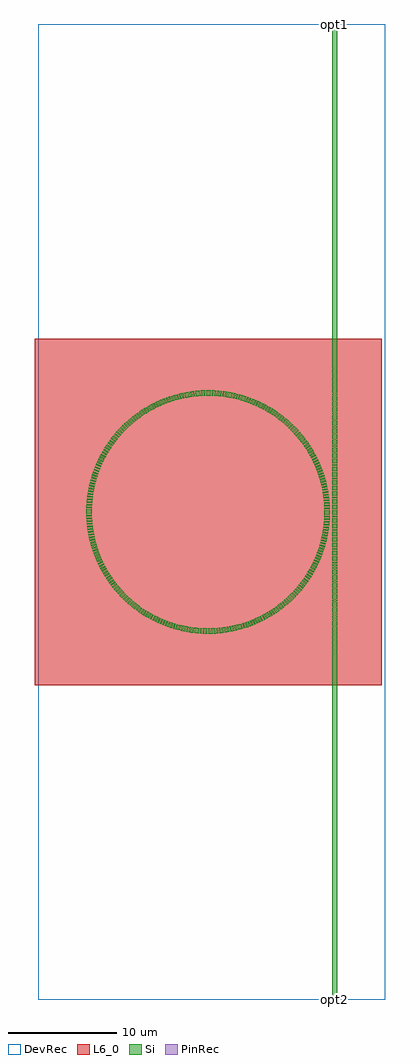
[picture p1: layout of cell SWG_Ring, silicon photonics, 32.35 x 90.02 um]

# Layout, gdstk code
import gdstk
lib = gdstk.Library(unit=1e-6, precision=1e-09)
def R(c, l, rs):  # rectangles x0, y0, x1, y1
    for r in rs: c.add(gdstk.rectangle(r[:2], r[2:], *l))
def A(c, l, x, y, w, h, nx, ny, dx, dy):  # array of equal rectangles
    R(c, l, [(x+i*dx, y+j*dy, x+i*dx+w, y+j*dy+h) for i in range(nx) for j in range(ny)])
def P(c, l, *ps):  # polygons
    for p in ps: c.add(gdstk.Polygon(p, *l))
Si = (1, 0)
PinRec = (1, 10)
L6_0 = (6, 0)
DevRec = (68, 0)

swg_ring = lib.new_cell('SWG_Ring')
A(swg_ring, Si, 11.432, -14.75, 0.5, 0.175, 1, 60, 0, 0.25)
A(swg_ring, Si, 11.432, 0, 0.5, 0.175, 1, 60, 0, 0.25)
R(swg_ring, Si, [(11.432,-45,11.932,-14.75), (11.432,0,11.932,0.175), (11.432,14.925,11.932,45)])
P(swg_ring, Si, [(0.489,10.721),(0.319,10.727),(0.333,11.227),(0.512,11.22)],
  [(-11.23,-0.177),(-11.232,0.002),(-10.732,0.002),(-10.73,-0.169)],
  [(0.252,-11.229),(0.241,-10.729),(0.412,-10.724),(0.431,-11.223)],
  [(6.189,8.767),(6.049,8.865),(6.331,9.278),(6.478,9.176)],
  [(5.988,8.906),(5.845,9),(6.118,9.419),(6.267,9.321)],
  [(5.577,9.169),(5.43,9.257),(5.683,9.688),(5.836,9.596)],
  [(5.366,9.294),(5.218,9.378),(5.461,9.815),(5.616,9.727)],
  [(5.154,9.413),(5.003,9.494),(5.236,9.937),(5.394,9.852)],
  [(4.938,9.528),(4.785,9.606),(5.008,10.053),(5.168,9.972)],
  [(4.72,9.638),(4.566,9.712),(4.778,10.165),(4.94,10.087)],
  [(4.499,9.743),(4.343,9.813),(4.546,10.271),(4.709,10.197)],
  [(4.276,9.843),(4.119,9.91),(4.311,10.372),(4.475,10.302)],
  [(4.051,9.938),(3.892,10.001),(4.074,10.467),(4.24,10.401)],
  [(3.824,10.027),(3.664,10.087),(3.834,10.557),(4.002,10.495)],
  [(3.595,10.112),(3.433,10.168),(3.593,10.641),(3.762,10.583)],
  [(3.364,10.191),(3.201,10.243),(3.35,10.721),(3.52,10.666)],
  [(3.131,10.265),(2.967,10.313),(3.105,10.794),(3.277,10.743)],
  [(2.896,10.333),(2.731,10.378),(2.858,10.862),(3.031,10.815)],
  [(2.66,10.397),(2.494,10.438),(2.61,10.924),(2.784,10.881)],
  [(2.423,10.455),(2.256,10.492),(2.361,10.981),(2.536,10.942)],
  [(2.184,10.507),(2.017,10.541),(2.111,11.032),(2.286,10.997)],
  [(1.945,10.554),(1.776,10.584),(1.859,11.077),(2.035,11.046)],
  [(1.704,10.596),(1.535,10.621),(1.606,11.116),(1.783,11.089)],
  [(1.462,10.632),(1.293,10.654),(1.353,11.15),(1.53,11.127)],
  [(1.22,10.662),(1.05,10.68),(1.099,11.178),(1.277,11.159)],
  [(0.977,10.687),(0.806,10.701),(0.844,11.2),(1.022,11.185)],
  [(0.733,10.707),(0.563,10.717),(0.589,11.216),(0.768,11.205)],
  [(5.784,9.04),(5.639,9.131),(5.902,9.556),(6.053,9.461)],
  [(9.04,5.783),(8.947,5.926),(9.364,6.202),(9.461,6.052)],
  [(8.906,5.987),(8.81,6.128),(9.22,6.414),(9.321,6.266)],
  [(8.768,6.188),(8.668,6.327),(9.072,6.622),(9.176,6.477)],
  [(11.652,4.925),(11.432,14.925),(11.932,14.925),(11.712,4.925)],
  [(7.502,7.674),(7.379,7.793),(7.723,8.156),(7.852,8.031)],
  [(7.325,7.843),(7.199,7.958),(7.535,8.329),(7.667,8.208)],
  [(7.145,8.007),(7.016,8.12),(7.343,8.499),(7.478,8.381)],
  [(6.961,8.168),(6.83,8.278),(7.148,8.664),(7.285,8.549)],
  [(6.773,8.324),(6.64,8.431),(6.949,8.824),(7.089,8.712)],
  [(6.582,8.476),(6.446,8.58),(6.746,8.98),(6.889,8.871)],
  [(6.387,8.624),(6.249,8.725),(6.54,9.131),(6.685,9.026)],
  [(8.477,6.581),(8.371,6.715),(8.761,7.028),(8.872,6.888)],
  [(8.325,6.772),(8.216,6.904),(8.599,7.226),(8.713,7.088)],
  [(8.169,6.96),(8.057,7.089),(8.432,7.42),(8.549,7.284)],
  [(8.008,7.144),(7.893,7.271),(8.261,7.61),(8.381,7.477)],
  [(7.843,7.325),(7.726,7.449),(8.086,7.796),(8.209,7.666)],
  [(7.675,7.501),(7.554,7.623),(7.906,7.978),(8.032,7.851)],
  [(8.625,6.386),(8.522,6.523),(8.919,6.827),(9.026,6.684)],
  [(9.294,5.366),(9.207,5.513),(9.636,5.77),(9.727,5.616)],
  [(9.17,5.576),(9.08,5.721),(9.503,5.988),(9.597,5.835)],
  [(10.707,0.732),(10.694,0.903),(11.192,0.945),(11.206,0.766)],
  [(10.687,0.976),(10.67,1.146),(11.167,1.199),(11.185,1.021)],
  [(10.662,1.219),(10.641,1.389),(11.137,1.453),(11.159,1.276)],
  [(10.732,0),(10.73,0.171),(11.23,0.179),(11.232,0)],
  [(10.729,0.244),(10.724,0.415),(11.223,0.435),(11.229,0.256)],
  [(10.721,0.488),(10.711,0.659),(11.21,0.69),(11.22,0.511)],
  [(10.632,1.461),(10.607,1.63),(11.101,1.706),(11.127,1.529)],
  [(10.596,1.703),(10.567,1.871),(11.06,1.959),(11.089,1.782)],
  [(10.554,1.944),(10.522,2.111),(11.012,2.21),(11.046,2.034)],
  [(10.507,2.183),(10.471,2.35),(10.959,2.46),(10.997,2.285)],
  [(10.455,2.422),(10.415,2.588),(10.9,2.709),(10.942,2.535)],
  [(10.397,2.659),(10.353,2.825),(10.836,2.956),(10.881,2.783)],
  [(10.334,2.895),(10.286,3.059),(10.766,3.202),(10.815,3.03)],
  [(10.265,3.13),(10.214,3.293),(10.69,3.446),(10.743,3.275)],
  [(10.191,3.363),(10.136,3.524),(10.609,3.689),(10.666,3.519)],
  [(10.112,3.594),(10.054,3.754),(10.522,3.929),(10.583,3.761)],
  [(10.028,3.823),(9.966,3.982),(10.43,4.168),(10.495,4.001)],
  [(9.938,4.05),(9.872,4.208),(10.332,4.404),(10.401,4.239)],
  [(9.843,4.275),(9.774,4.432),(10.229,4.638),(10.302,4.474)],
  [(9.743,4.498),(9.671,4.653),(10.121,4.87),(10.197,4.708)],
  [(9.639,4.719),(9.562,4.872),(10.008,5.099),(10.088,4.939)],
  [(9.529,4.937),(9.449,5.088),(9.889,5.325),(9.973,5.167)],
  [(9.414,5.153),(9.331,5.302),(9.765,5.549),(9.852,5.393)],
  [(-10.701,0.808),(-11.2,0.845),(-11.185,1.024),(-10.687,0.978)],
  [(-10.717,0.564),(-11.216,0.59),(-11.205,0.769),(-10.707,0.734)],
  [(-10.727,0.32),(-11.227,0.335),(-11.22,0.513),(-10.72,0.491)],
  [(-10.731,0.075),(-11.231,0.079),(-11.229,0.258),(-10.729,0.246)],
  [(0.245,10.729),(0.074,10.731),(0.078,11.231),(0.257,11.229)],
  [(-0.17,10.73),(-0.178,11.23),(0.001,11.232),(0.001,10.732)],
  [(-0.414,10.724),(-0.433,11.223),(-0.255,11.229),(-0.243,10.729)],
  [(-0.658,10.711),(-0.689,11.211),(-0.51,11.22),(-0.487,10.721)],
  [(-0.902,10.694),(-0.944,11.192),(-0.765,11.206),(-0.731,10.707)],
  [(-1.145,10.67),(-1.198,11.168),(-1.02,11.185),(-0.975,10.687)],
  [(-1.387,10.642),(-1.452,11.137),(-1.274,11.159),(-1.218,10.662)],
  [(-1.629,10.607),(-1.705,11.101),(-1.528,11.127),(-1.46,10.632)],
  [(-1.87,10.567),(-1.958,11.06),(-1.781,11.09),(-1.702,10.596)],
  [(-2.11,10.522),(-2.209,11.012),(-2.033,11.046),(-1.943,10.554)],
  [(-2.349,10.471),(-2.459,10.959),(-2.284,10.997),(-2.182,10.507)],
  [(-2.587,10.415),(-2.708,10.9),(-2.534,10.942),(-2.421,10.455)],
  [(-2.824,10.354),(-2.955,10.836),(-2.782,10.882),(-2.658,10.397)],
  [(-3.058,10.287),(-3.201,10.766),(-3.029,10.816),(-2.894,10.334)],
  [(-3.292,10.214),(-3.445,10.69),(-3.274,10.744),(-3.129,10.266)],
  [(-3.523,10.137),(-3.688,10.609),(-3.518,10.666),(-3.361,10.192)],
  [(-3.753,10.054),(-3.928,10.522),(-3.76,10.584),(-3.593,10.112)],
  [(-3.981,9.966),(-4.167,10.43),(-4,10.495),(-3.822,10.028)],
  [(-4.207,9.873),(-4.403,10.333),(-4.238,10.402),(-4.049,9.939)],
  [(-4.431,9.774),(-4.637,10.23),(-4.473,10.302),(-4.274,9.844)],
  [(-4.652,9.671),(-4.869,10.122),(-4.707,10.198),(-4.497,9.744)],
  [(-4.871,9.563),(-5.098,10.008),(-4.938,10.088),(-4.718,9.639)],
  [(-5.087,9.449),(-5.324,9.89),(-5.166,9.973),(-4.936,9.529)],
  [(-5.301,9.331),(-5.548,9.766),(-5.392,9.853),(-5.152,9.414)],
  [(-5.512,9.208),(-5.769,9.637),(-5.615,9.728),(-5.365,9.295)],
  [(-5.72,9.08),(-5.987,9.503),(-5.835,9.597),(-5.575,9.17)],
  [(-5.925,8.948),(-6.201,9.364),(-6.051,9.462),(-5.782,9.041)],
  [(-6.128,8.81),(-6.413,9.221),(-6.265,9.322),(-5.986,8.907)],
  [(-6.326,8.669),(-6.621,9.073),(-6.476,9.177),(-6.188,8.768)],
  [(-6.522,8.522),(-6.826,8.919),(-6.683,9.027),(-6.386,8.625)],
  [(-6.714,8.372),(-7.027,8.762),(-6.887,8.873),(-6.58,8.478)],
  [(-6.903,8.217),(-7.225,8.6),(-7.087,8.714),(-6.771,8.326)],
  [(-7.088,8.057),(-7.419,8.433),(-7.283,8.55),(-6.959,8.169)],
  [(-7.27,7.894),(-7.609,8.262),(-7.476,8.382),(-7.143,8.009)],
  [(-7.448,7.727),(-7.795,8.086),(-7.665,8.21),(-7.324,7.844)],
  [(-7.622,7.555),(-7.977,7.907),(-7.85,8.033),(-7.5,7.675)],
  [(-7.792,7.38),(-8.155,7.723),(-8.031,7.852),(-7.673,7.503)],
  [(-7.958,7.2),(-8.328,7.536),(-8.207,7.667),(-7.842,7.326)],
  [(-8.12,7.017),(-8.498,7.344),(-8.38,7.479),(-8.007,7.146)],
  [(-8.277,6.831),(-8.663,7.149),(-8.548,7.286),(-8.167,6.962)],
  [(-8.431,6.64),(-8.823,6.95),(-8.711,7.09),(-8.324,6.774)],
  [(-8.579,6.447),(-8.979,6.747),(-8.871,6.889),(-8.476,6.583)],
  [(-8.724,6.25),(-9.13,6.541),(-9.025,6.686),(-8.623,6.388)],
  [(-8.864,6.05),(-9.277,6.332),(-9.175,6.479),(-8.766,6.19)],
  [(-8.999,5.846),(-9.419,6.119),(-9.32,6.268),(-8.905,5.989)],
  [(-9.13,5.64),(-9.556,5.903),(-9.46,6.054),(-9.039,5.785)],
  [(-9.256,5.431),(-9.687,5.684),(-9.596,5.837),(-9.168,5.578)],
  [(-9.377,5.219),(-9.814,5.462),(-9.726,5.617),(-9.293,5.367)],
  [(-9.494,5.004),(-9.936,5.237),(-9.851,5.395),(-9.413,5.154)],
  [(-9.605,4.786),(-10.053,5.009),(-9.972,5.169),(-9.528,4.939)],
  [(-9.712,4.567),(-10.164,4.779),(-10.087,4.941),(-9.638,4.721)],
  [(-9.813,4.344),(-10.27,4.547),(-10.196,4.71),(-9.743,4.5)],
  [(-9.909,4.12),(-10.371,4.312),(-10.301,4.477),(-9.842,4.277)],
  [(-10.001,3.893),(-10.467,4.075),(-10.4,4.241),(-9.937,4.052)],
  [(-10.087,3.665),(-10.557,3.835),(-10.494,4.003),(-10.027,3.825)],
  [(-10.167,3.434),(-10.641,3.594),(-10.583,3.763),(-10.111,3.596)],
  [(-10.243,3.202),(-10.72,3.351),(-10.665,3.521),(-10.191,3.365)],
  [(-10.313,2.968),(-10.794,3.106),(-10.743,3.278),(-10.265,3.132)],
  [(-10.378,2.732),(-10.862,2.86),(-10.815,3.032),(-10.333,2.897)],
  [(-10.438,2.495),(-10.924,2.612),(-10.881,2.785),(-10.396,2.661)],
  [(-10.492,2.257),(-10.98,2.362),(-10.941,2.537),(-10.454,2.424)],
  [(-10.54,2.018),(-11.031,2.112),(-10.996,2.287),(-10.507,2.185)],
  [(-10.584,1.777),(-11.077,1.86),(-11.046,2.036),(-10.554,1.946)],
  [(-10.621,1.536),(-11.116,1.607),(-11.089,1.784),(-10.595,1.705)],
  [(-10.653,1.294),(-11.15,1.354),(-11.127,1.532),(-10.631,1.463)],
  [(-10.68,1.051),(-11.178,1.1),(-11.159,1.278),(-10.662,1.221)],
  [(-0.591,-11.216),(-0.77,-11.205),(-0.736,-10.706),(-0.565,-10.717)],
  [(-0.336,-11.227),(-0.515,-11.22),(-0.492,-10.72),(-0.321,-10.727)],
  [(-0.08,-11.231),(-0.259,-11.229),(-0.248,-10.729),(-0.077,-10.731)],
  [(-0.003,-11.232),(-0.003,-10.732),(0.168,-10.73),(0.176,-11.23)],
  [(-11.223,-0.432),(-11.229,-0.253),(-10.729,-0.242),(-10.724,-0.413)],
  [(-11.211,-0.688),(-11.22,-0.509),(-10.721,-0.486),(-10.712,-0.657)],
  [(-11.192,-0.943),(-11.206,-0.764),(-10.707,-0.73),(-10.694,-0.901)],
  [(-11.168,-1.197),(-11.185,-1.019),(-10.687,-0.974),(-10.671,-1.144)],
  [(-11.138,-1.451),(-11.159,-1.273),(-10.662,-1.217),(-10.642,-1.386)],
  [(-11.102,-1.704),(-11.127,-1.527),(-10.632,-1.459),(-10.607,-1.628)],
  [(-11.06,-1.956),(-11.09,-1.78),(-10.596,-1.701),(-10.568,-1.869)],
  [(-11.013,-2.208),(-11.046,-2.032),(-10.555,-1.941),(-10.522,-2.109)],
  [(-10.959,-2.458),(-10.997,-2.283),(-10.508,-2.181),(-10.472,-2.348)],
  [(-10.901,-2.707),(-10.942,-2.533),(-10.455,-2.42),(-10.415,-2.586)],
  [(-10.836,-2.954),(-10.882,-2.781),(-10.398,-2.657),(-10.354,-2.822)],
  [(-10.766,-3.2),(-10.816,-3.028),(-10.334,-2.893),(-10.287,-3.057)],
  [(-10.691,-3.444),(-10.744,-3.273),(-10.266,-3.128),(-10.215,-3.291)],
  [(-10.609,-3.687),(-10.667,-3.517),(-10.192,-3.36),(-10.137,-3.522)],
  [(-10.523,-3.927),(-10.584,-3.759),(-10.113,-3.592),(-10.054,-3.752)],
  [(-10.431,-4.166),(-10.496,-3.999),(-10.028,-3.821),(-9.966,-3.98)],
  [(-10.333,-4.402),(-10.402,-4.237),(-9.939,-4.048),(-9.873,-4.206)],
  [(-10.23,-4.636),(-10.303,-4.472),(-9.844,-4.273),(-9.775,-4.43)],
  [(-10.122,-4.868),(-10.198,-4.706),(-9.744,-4.496),(-9.672,-4.651)],
  [(-10.009,-5.097),(-10.089,-4.937),(-9.64,-4.717),(-9.563,-4.87)],
  [(-9.89,-5.323),(-9.974,-5.165),(-9.53,-4.935),(-9.45,-5.086)],
  [(-9.766,-5.547),(-9.853,-5.391),(-9.415,-5.151),(-9.332,-5.3)],
  [(-9.638,-5.768),(-9.728,-5.614),(-9.295,-5.364),(-9.209,-5.511)],
  [(-9.504,-5.986),(-9.598,-5.834),(-9.171,-5.574),(-9.081,-5.719)],
  [(-9.365,-6.201),(-9.463,-6.05),(-9.041,-5.781),(-8.948,-5.924)],
  [(-9.222,-6.412),(-9.323,-6.264),(-8.908,-5.985),(-8.811,-6.127)],
  [(-9.073,-6.62),(-9.178,-6.475),(-8.769,-6.187),(-8.669,-6.326)],
  [(-8.92,-6.825),(-9.028,-6.682),(-8.626,-6.385),(-8.523,-6.521)],
  [(-8.762,-7.026),(-8.873,-6.886),(-8.478,-6.579),(-8.372,-6.714)],
  [(-8.6,-7.224),(-8.714,-7.086),(-8.326,-6.771),(-8.217,-6.902)],
  [(-8.434,-7.418),(-8.551,-7.283),(-8.17,-6.958),(-8.058,-7.088)],
  [(-8.263,-7.608),(-8.383,-7.475),(-8.01,-7.143),(-7.895,-7.269)],
  [(-8.087,-7.794),(-8.21,-7.664),(-7.845,-7.323),(-7.727,-7.447)],
  [(-7.908,-7.976),(-8.034,-7.849),(-7.676,-7.5),(-7.556,-7.621)],
  [(-7.724,-8.154),(-7.853,-8.03),(-7.504,-7.672),(-7.38,-7.791)],
  [(-7.537,-8.328),(-7.668,-8.207),(-7.327,-7.841),(-7.201,-7.957)],
  [(-7.345,-8.497),(-7.48,-8.379),(-7.147,-8.006),(-7.018,-8.119)],
  [(-7.15,-8.662),(-7.287,-8.547),(-6.962,-8.167),(-6.831,-8.276)],
  [(-6.951,-8.823),(-7.09,-8.711),(-6.775,-8.323),(-6.641,-8.43)],
  [(-6.748,-8.979),(-6.89,-8.87),(-6.584,-8.475),(-6.448,-8.579)],
  [(-6.542,-9.13),(-6.687,-9.024),(-6.389,-8.623),(-6.251,-8.723)],
  [(-6.332,-9.276),(-6.479,-9.174),(-6.191,-8.766),(-6.051,-8.863)],
  [(-6.12,-9.418),(-6.269,-9.319),(-5.99,-8.904),(-5.847,-8.999)],
  [(-5.904,-9.555),(-6.055,-9.46),(-5.786,-9.039),(-5.641,-9.13)],
  [(-5.685,-9.687),(-5.838,-9.595),(-5.578,-9.168),(-5.432,-9.256)],
  [(-5.463,-9.814),(-5.618,-9.725),(-5.368,-9.292),(-5.22,-9.377)],
  [(-5.238,-9.936),(-5.396,-9.851),(-5.155,-9.412),(-5.005,-9.493)],
  [(-5.01,-10.052),(-5.17,-9.971),(-4.94,-9.527),(-4.787,-9.605)],
  [(-4.78,-10.164),(-4.942,-10.086),(-4.722,-9.637),(-4.568,-9.711)],
  [(-4.548,-10.27),(-4.711,-10.196),(-4.501,-9.742),(-4.345,-9.813)],
  [(-4.313,-10.371),(-4.478,-10.301),(-4.278,-9.842),(-4.121,-9.909)],
  [(-4.076,-10.466),(-4.242,-10.4),(-4.053,-9.937),(-3.894,-10)],
  [(-3.836,-10.556),(-4.004,-10.494),(-3.826,-10.027),(-3.666,-10.086)],
  [(-3.595,-10.641),(-3.764,-10.582),(-3.597,-10.111),(-3.435,-10.167)],
  [(-3.352,-10.72),(-3.522,-10.665),(-3.366,-10.19),(-3.203,-10.243)],
  [(-3.107,-10.793),(-3.279,-10.742),(-3.133,-10.264),(-2.969,-10.313)],
  [(-2.861,-10.861),(-3.033,-10.814),(-2.898,-10.333),(-2.733,-10.378)],
  [(-2.613,-10.924),(-2.786,-10.881),(-2.662,-10.396),(-2.496,-10.437)],
  [(-2.363,-10.98),(-2.538,-10.941),(-2.425,-10.454),(-2.258,-10.491)],
  [(-2.113,-11.031),(-2.288,-10.996),(-2.186,-10.507),(-2.019,-10.54)],
  [(-1.861,-11.076),(-2.037,-11.045),(-1.947,-10.554),(-1.778,-10.583)],
  [(-1.609,-11.116),(-1.786,-11.089),(-1.706,-10.595),(-1.537,-10.621)],
  [(-1.355,-11.15),(-1.533,-11.127),(-1.464,-10.631),(-1.295,-10.653)],
  [(-1.101,-11.178),(-1.279,-11.159),(-1.222,-10.662),(-1.052,-10.68)],
  [(-0.846,-11.2),(-1.025,-11.185),(-0.979,-10.687),(-0.809,-10.701)],
  [(6.05,-9.463),(5.78,-9.042),(5.924,-8.949),(6.2,-9.366)],
  [(6.263,-9.323),(5.985,-8.908),(6.126,-8.812),(6.411,-9.222)],
  [(9.024,-6.688),(8.622,-6.39),(8.723,-6.252),(9.129,-6.543)],
  [(9.174,-6.48),(8.765,-6.192),(8.863,-6.051),(9.276,-6.333)],
  [(9.319,-6.27),(8.904,-5.991),(8.998,-5.848),(9.417,-6.121)],
  [(11.432,-14.75),(11.652,-4.75),(11.712,-4.75),(11.932,-14.75)],
  [(11.205,-0.771),(10.706,-0.737),(10.717,-0.566),(11.216,-0.592)],
  [(11.22,-0.516),(10.72,-0.493),(10.727,-0.322),(11.227,-0.337)],
  [(9.459,-6.056),(9.038,-5.787),(9.129,-5.642),(9.554,-5.905)],
  [(9.594,-5.839),(9.167,-5.579),(9.255,-5.433),(9.686,-5.686)],
  [(9.725,-5.619),(9.292,-5.369),(9.376,-5.221),(9.813,-5.464)],
  [(9.85,-5.397),(9.412,-5.156),(9.493,-5.006),(9.935,-5.239)],
  [(9.971,-5.171),(9.527,-4.941),(9.604,-4.788),(10.052,-5.011)],
  [(10.086,-4.943),(9.637,-4.723),(9.711,-4.569),(10.163,-4.781)],
  [(10.196,-4.712),(9.742,-4.502),(9.812,-4.346),(10.269,-4.549)],
  [(10.3,-4.479),(9.842,-4.279),(9.909,-4.122),(10.37,-4.314)],
  [(10.399,-4.243),(9.936,-4.054),(10,-3.895),(10.466,-4.077)],
  [(10.493,-4.005),(10.026,-3.827),(10.086,-3.667),(10.556,-3.837)],
  [(10.582,-3.765),(10.111,-3.598),(10.167,-3.436),(10.64,-3.596)],
  [(10.665,-3.523),(10.19,-3.367),(10.242,-3.204),(10.72,-3.353)],
  [(10.742,-3.28),(10.264,-3.134),(10.313,-2.97),(10.793,-3.108)],
  [(10.814,-3.034),(10.333,-2.899),(10.378,-2.734),(10.861,-2.862)],
  [(10.88,-2.787),(10.396,-2.663),(10.437,-2.497),(10.923,-2.614)],
  [(10.941,-2.539),(10.454,-2.426),(10.491,-2.259),(10.98,-2.364)],
  [(10.996,-2.289),(10.506,-2.188),(10.54,-2.02),(11.031,-2.114)],
  [(11.045,-2.039),(10.553,-1.948),(10.583,-1.779),(11.076,-1.862)],
  [(11.089,-1.787),(10.595,-1.707),(10.621,-1.538),(11.116,-1.61)],
  [(11.126,-1.534),(10.631,-1.465),(10.653,-1.296),(11.15,-1.356)],
  [(11.159,-1.28),(10.662,-1.223),(10.68,-1.053),(11.177,-1.102)],
  [(11.185,-1.026),(10.687,-0.98),(10.701,-0.81),(11.2,-0.847)],
  [(11.229,-0.26),(10.729,-0.249),(10.731,-0.078),(11.231,-0.081)],
  [(8.546,-7.288),(8.166,-6.963),(8.276,-6.832),(8.661,-7.151)],
  [(6.681,-9.028),(6.384,-8.627),(6.52,-8.524),(6.824,-8.921)],
  [(8.71,-7.091),(8.322,-6.776),(8.429,-6.642),(8.822,-6.952)],
  [(7.663,-8.211),(7.322,-7.846),(7.446,-7.728),(7.793,-8.088)],
  [(8.869,-6.891),(8.474,-6.584),(8.578,-6.449),(8.978,-6.749)],
  [(7.085,-8.715),(6.77,-8.327),(6.902,-8.218),(7.223,-8.601)],
  [(7.848,-8.035),(7.499,-7.677),(7.62,-7.557),(7.975,-7.909)],
  [(6.474,-9.178),(6.186,-8.77),(6.325,-8.67),(6.619,-9.074)],
  [(8.029,-7.854),(7.672,-7.504),(7.79,-7.381),(8.153,-7.725)],
  [(7.282,-8.551),(6.958,-8.171),(7.087,-8.059),(7.417,-8.434)],
  [(8.206,-7.669),(7.841,-7.328),(7.956,-7.202),(8.327,-7.537)],
  [(6.885,-8.874),(6.578,-8.479),(6.713,-8.373),(7.025,-8.763)],
  [(8.378,-7.48),(8.005,-7.147),(8.118,-7.019),(8.496,-7.346)],
  [(7.474,-8.384),(7.142,-8.01),(7.268,-7.895),(7.607,-8.263)],
  [(4.936,-10.089),(4.716,-9.64),(4.869,-9.564),(5.096,-10.009)],
  [(2.78,-10.882),(2.656,-10.398),(2.821,-10.354),(2.953,-10.837)],
  [(5.164,-9.974),(4.934,-9.53),(5.085,-9.45),(5.322,-9.891)],
  [(0.763,-11.206),(0.729,-10.707),(0.9,-10.694),(0.942,-11.192)],
  [(5.39,-9.854),(5.15,-9.415),(5.299,-9.332),(5.546,-9.767)],
  [(3.027,-10.816),(2.892,-10.335),(3.056,-10.287),(3.199,-10.767)],
  [(5.613,-9.729),(5.363,-9.296),(5.51,-9.209),(5.767,-9.638)],
  [(1.779,-11.09),(1.7,-10.596),(1.868,-10.568),(1.955,-11.06)],
  [(5.833,-9.599),(5.573,-9.171),(5.718,-9.081),(5.985,-9.504)],
  [(3.272,-10.744),(3.127,-10.266),(3.29,-10.215),(3.443,-10.691)],
  [(1.018,-11.185),(0.973,-10.688),(1.143,-10.671),(1.196,-11.168)],
  [(3.516,-10.667),(3.359,-10.192),(3.521,-10.137),(3.685,-10.61)],
  [(2.031,-11.047),(1.94,-10.555),(2.108,-10.523),(2.207,-11.013)],
  [(3.758,-10.584),(3.591,-10.113),(3.751,-10.055),(3.926,-10.523)],
  [(1.272,-11.159),(1.216,-10.663),(1.385,-10.642),(1.45,-11.138)],
  [(3.998,-10.496),(3.82,-10.029),(3.979,-9.967),(4.165,-10.431)],
  [(2.282,-10.997),(2.18,-10.508),(2.347,-10.472),(2.457,-10.96)],
  [(4.236,-10.402),(4.047,-9.939),(4.205,-9.874),(4.401,-10.334)],
  [(0.508,-11.22),(0.485,-10.721),(0.656,-10.712),(0.687,-11.211)],
  [(4.471,-10.303),(4.272,-9.845),(4.429,-9.775),(4.635,-10.231)],
  [(2.531,-10.943),(2.419,-10.456),(2.585,-10.416),(2.705,-10.901)],
  [(4.705,-10.199),(4.495,-9.745),(4.65,-9.672),(4.867,-10.123)],
  [(1.526,-11.128),(1.458,-10.632),(1.627,-10.608),(1.703,-11.102)])
R(swg_ring, L6_0, [(-16,-16,16,16)])
R(swg_ring, DevRec, [(-15.65,-45,16.35,45)])
swg_ring.add(gdstk.FlexPath([(11.682,44.99),(11.682,45.01)], 0.5, ends="flush", simple_path=True, layer=1, datatype=10))  # PinRec
swg_ring.add(gdstk.FlexPath([(11.682,-44.99),(11.682,-45.01)], 0.5, ends="flush", simple_path=True, layer=1, datatype=10))  # PinRec
swg_ring.add(gdstk.Label('opt1', (11.682,45), layer=1, texttype=10))
swg_ring.add(gdstk.Label('opt2', (11.682,-45), layer=1, texttype=10))

lib.write_gds('SWG_Ring.gds')
